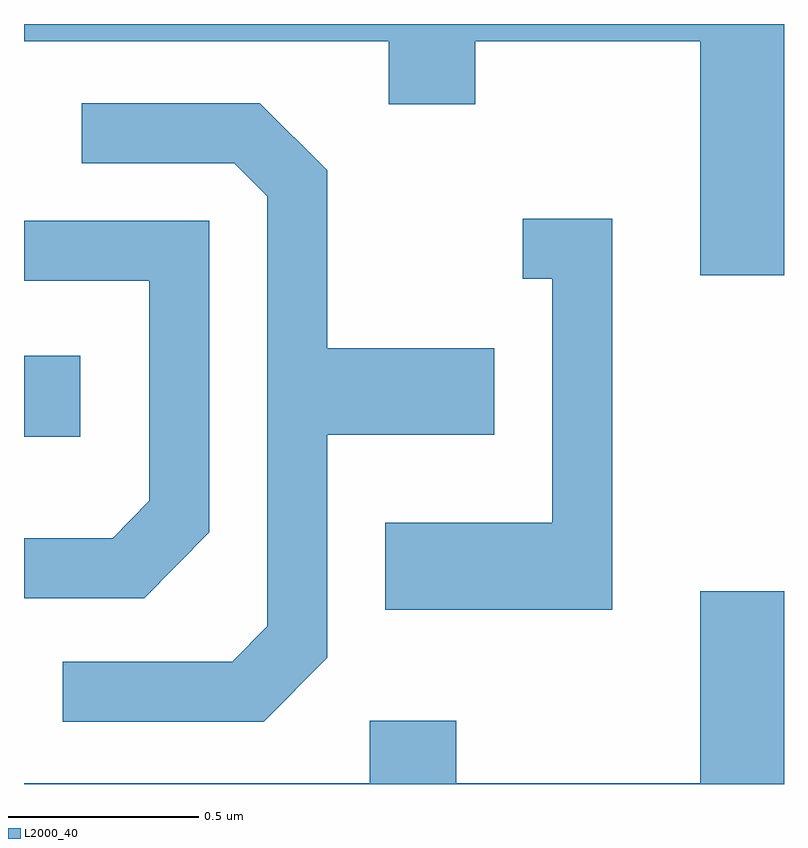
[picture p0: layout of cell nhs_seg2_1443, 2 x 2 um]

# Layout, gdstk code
import gdstk
lib = gdstk.Library(unit=1e-6, precision=1e-09)
def R(c, l, rs):  # rectangles x0, y0, x1, y1
    for r in rs: c.add(gdstk.rectangle(r[:2], r[2:], *l))
def P(c, l, *ps):  # polygons
    for p in ps: c.add(gdstk.Polygon(p, *l))
L2000_40 = (2000, 40)

nhs_seg2_1443 = lib.new_cell('nhs_seg2_1443')
R(nhs_seg2_1443, L2000_40, [(195.611,1051.716,195.759,1051.929)])
P(nhs_seg2_1443, L2000_40, [(197.611,1052.802),(195.611,1052.802),(195.611,1052.756),(196.571,1052.756),(196.571,1052.591),(196.799,1052.591),(196.799,1052.756),(197.391,1052.756),(197.391,1052.141),(197.611,1052.141)],
  [(196.409,1051.134),(196.409,1051.721),(196.849,1051.721),(196.849,1051.949),(196.409,1051.949),(196.409,1052.417),(196.232,1052.594),(195.763,1052.594),(195.763,1052.436),(196.164,1052.436),(196.251,1052.349),(196.251,1051.217),(196.159,1051.124),(195.713,1051.124),(195.713,1050.966),(196.242,1050.966)],
  [(197.159,1052.289),(196.923,1052.289),(196.923,1052.131),(197.001,1052.131),(197.001,1051.489),(196.561,1051.489),(196.561,1051.261),(197.159,1051.261)],
  [(196.099,1051.464),(196.099,1052.284),(195.611,1052.284),(195.611,1052.126),(195.941,1052.126),(195.941,1051.547),(195.844,1051.449),(195.611,1051.449),(195.611,1051.291),(195.927,1051.291)],
  [(197.611,1051.309),(197.391,1051.309),(197.391,1050.804),(196.749,1050.804),(196.749,1050.969),(196.521,1050.969),(196.521,1050.804),(195.611,1050.804),(195.611,1050.802),(197.611,1050.802)])

lib.write_gds('nhs_seg2_1443.gds')
